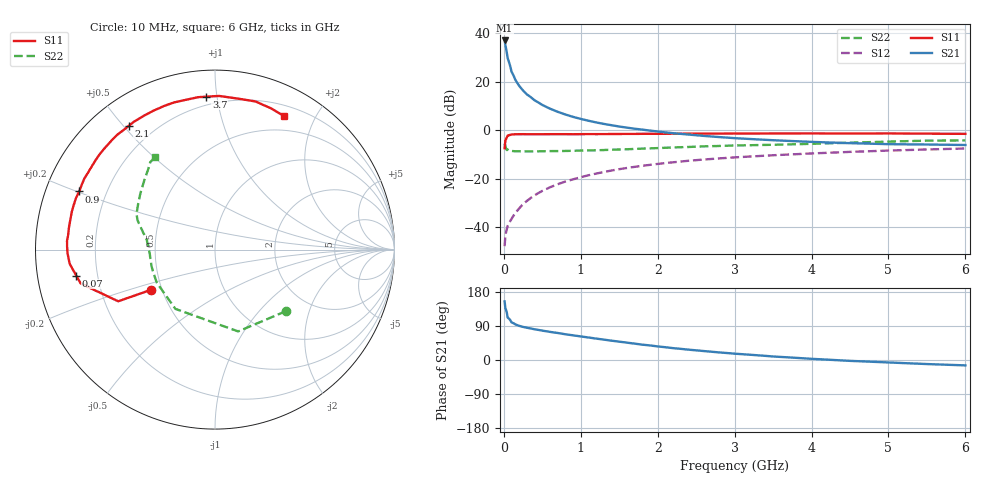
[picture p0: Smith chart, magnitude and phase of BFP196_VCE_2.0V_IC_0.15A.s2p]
! (c) 2017  Infineon Technologies AG, Munich
! Infineon Technologies  Discrete & RF Semiconductors
! BFP196
! VCE =  2.0 V,  IC = 0.15 A
! Common Emitter S-Parameters:  Jan 2017
# GHz  S  MA  R  50
!  f  S11  S21  S12  S22
! GHz  MAG  ANG  MAG  ANG  MAG  ANG  MAG  ANG
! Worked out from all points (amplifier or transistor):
!   77 points, 10 MHz to 6 GHz, reference 50 ohm
!   highest |S21| = 37.1 dB at 10 MHz (marker M1)
!   |S21| within 3 dB of that: start of sweep to 27.06 MHz
!   unconditionally stable (mu >= 1): start of sweep to 10.64 MHz; 159.7 MHz to end of sweep
!   at 130 MHz: K = 0.94, MSG = 28.7 dB, |S12| = -35.1 dB
!   at 2.2 GHz: K = 1.05, MAG = 4.6 dB, |S12| = -13.3 dB
!   at 6 GHz: K = 1.04, MAG = -0.5 dB, |S12| = -7.6 dB
!   S11 on the Smith chart (normalised r, x): 10 MHz: 0.43, -0.24; 70 MHz: 0.12, -0.09; 900 MHz: 0.10, +0.20; 2.1 GHz: 0.11, +0.52; 3.7 GHz: 0.15, +0.93; 6 GHz: 0.32, +1.59
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0.01  0.4232 -147.9  71.31 154.8  0.004 61.1  0.523 -41.0
0.02  0.6114 -151.9  57.58 136.6  0.0066 59.7  0.4737 -74.2
0.05  0.7723 -165.9  30.47 111.7  0.0106 47.6  0.3972 -123.8
0.07  0.7867 -169.4  24.62 108.4  0.0121 53.1  0.3777 -134.0
0.1  0.8135 -174.4  16.14 99.1  0.0146 59.1  0.373 -150.4
0.15  0.8218 -178.5  10.9 93.9  0.0194 63.2  0.3665 -160.5
0.2  0.8242 178.8  8.202 90.1  0.0242 68.1  0.3655 -166.0
0.25  0.8259 176.5  6.569 87.3  0.0296 69.7  0.3631 -169.4
0.3  0.8222 174.6  5.48 85.1  0.0345 70.6  0.3636 -172.2
0.4  0.8231 171.3  4.132 81.0  0.0449 71.6  0.3638 -175.4
0.5  0.8231 168.0  3.312 77.5  0.0555 71.7  0.3657 -177.8
0.6  0.8253 165.2  2.779 74.2  0.0659 71.0  0.3687 -179.9
0.7  0.8254 162.6  2.392 71.3  0.0762 70.6  0.3689 178.3
0.9  0.8231 156.8  1.878 65.1  0.0963 68.2  0.3743 175.8
1.1  0.8286 151.4  1.564 59.4  0.1168 65.6  0.3811 173.2
1.5  0.8333 140.8  1.187 48.4  0.1559 59.7  0.3981 168.7
2.1  0.8402 125.0  0.9 33.7  0.2083 50.1  0.432 163.3
3.1  0.8501 103.7  0.669 15.3  0.279 35.1  0.4847 153.8
3.7  0.8533 93.2  0.599 6.9  0.3131 27.4  0.5069 146.5
4.1  0.8542 87.0  0.565 2.1  0.3346 22.3  0.5268 141.2
5.1  0.853 73.5  0.511 -7.3  0.3822 10.3  0.5845 129.4
6  0.8378 62.8  0.493 -14.2  0.4175 0.2  0.614 122.9
